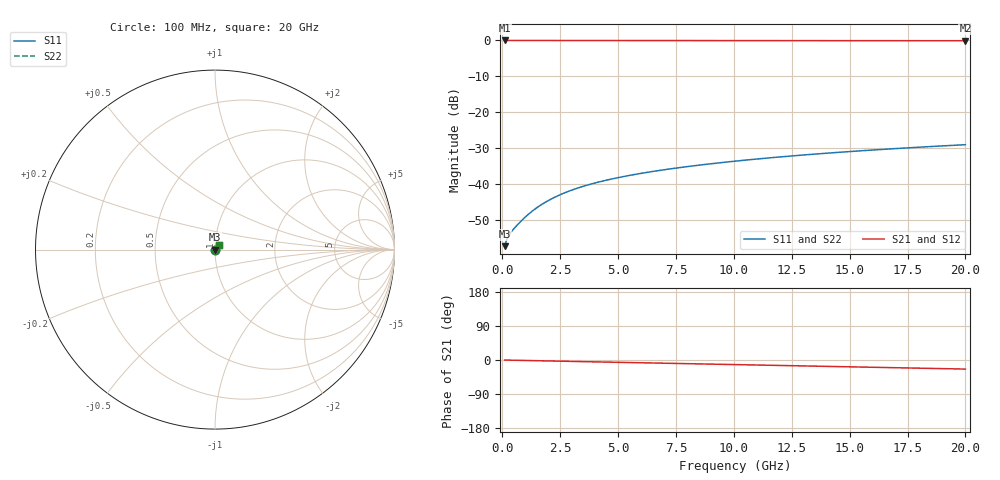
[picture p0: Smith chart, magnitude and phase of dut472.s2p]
! Touchstone file exported from HFSS 2026.1.0
!  File:  C:/ffzhzh/LocalFiles/Ansys_Project_Files/temp_train_BSMRDL_472_1783013707_51716.aedt
!  Generated:  01:36:20 AM Jul  3, 2026
!  Design:  BSMRDL
!  Project:  temp_train_BSMRDL_472_1783013707_51716
! Variables:
!  h_bsmrdl = 5.16um
!  h_ox = 20um
!  h_rdl = 5um
!  h_sub = 80um
!  h_tmrdl = 5um
!  h_tsv = 80um
!  h_via = 3um
!  l_bsmrdl = 414.41um
!  l_sub = 814.41um
!  l_tmrdl = 200um
!  m_sub = 200um
!  pitch = 36.38um
!  r_tsv = 6um
!  s_tmrdl = 10um
!  w_bsmrdl = 29.26um
!  w_sub = 500um
!  w_tmrdl = 12um
!  x_tsv_center1 = 206um
!  x_tsv_center2 = 649.67um
!  x_tsv_center3 = 861.67um
!  x_tsv_center4 = 1305.34um
!  x_tsv_center5 = 1517.34um
!  x_tsv_center6 = 1961.01um
# GHz S MA R 50.000000
! Terminal data exported
! Port[1] = BSM_RDL1_1_T1
! Port[2] = BSM_RDL1_1_T2
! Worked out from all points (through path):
!   200 points, 100 MHz to 20 GHz, reference 50 ohm
!   highest |S21| = -0.01 dB at 100 MHz (marker M1); lowest = -0.1 dB at 20 GHz (marker M2)
!   group delay of S21, straight-line fit = 3.31 ps
!   lowest |S11| = -57.3 dB at 100 MHz (marker M3), VSWR 1.00, Z = 50.1 + j0.0554 ohm
!   |S11| at or under -10 dB: start of sweep to end of sweep
!   |S22| runs from -57.3 to -29.0 dB; largest |S21 - S12| = 3.7e-15
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0.1  0.001361 24.0  0.9988 -0.1  0.9988 -0.1  0.001361 24.0
! Gamma 0 0 0 0
! Port Impedance 50 0 50 0
0.2  0.001711 31.5  0.9985 -0.3  0.9985 -0.3  0.001711 31.5
0.3  0.001967 35.4  0.9984 -0.4  0.9984 -0.4  0.001968 35.4
0.4  0.002179 38.9  0.9983 -0.5  0.9983 -0.5  0.00218 38.9
0.6  0.002587 45.4  0.9981 -0.8  0.9981 -0.8  0.002589 45.4
0.8  0.003022 50.7  0.998 -1.0  0.998 -1.0  0.003023 50.6
1  0.003482 54.5  0.998 -1.3  0.998 -1.3  0.003483 54.5
1.3  0.004203 58.4  0.9978 -1.6  0.9978 -1.6  0.004203 58.4
1.5  0.004692 60.1  0.9977 -1.9  0.9977 -1.9  0.004692 60.1
1.8  0.005425 61.8  0.9976 -2.3  0.9976 -2.3  0.005425 61.8
2.3  0.006623 63.2  0.9973 -2.9  0.9973 -2.9  0.006623 63.2
2.9  0.007998 63.7  0.9969 -3.6  0.9969 -3.6  0.007998 63.7
3.5  0.009296 63.6  0.9965 -4.3  0.9965 -4.3  0.009297 63.6
4.2  0.01072 63.2  0.996 -5.2  0.996 -5.2  0.01072 63.2
4.9  0.01207 62.8  0.9956 -6.0  0.9956 -6.0  0.01207 62.8
5.8  0.01372 62.2  0.995 -7.1  0.995 -7.1  0.01372 62.1
6.8  0.01547 61.5  0.9945 -8.3  0.9945 -8.3  0.01548 61.5
8.3  0.01799 60.4  0.9938 -10.1  0.9938 -10.1  0.01799 60.4
10.1  0.02088 59.2  0.9931 -12.2  0.9931 -12.2  0.02089 59.1
13.4  0.02595 56.6  0.9919 -16.1  0.9919 -16.1  0.02596 56.5
16.7  0.03074 53.7  0.9908 -20.0  0.9908 -20.0  0.03076 53.6
20  0.03527 50.6  0.9897 -23.9  0.9897 -23.9  0.0353 50.5
